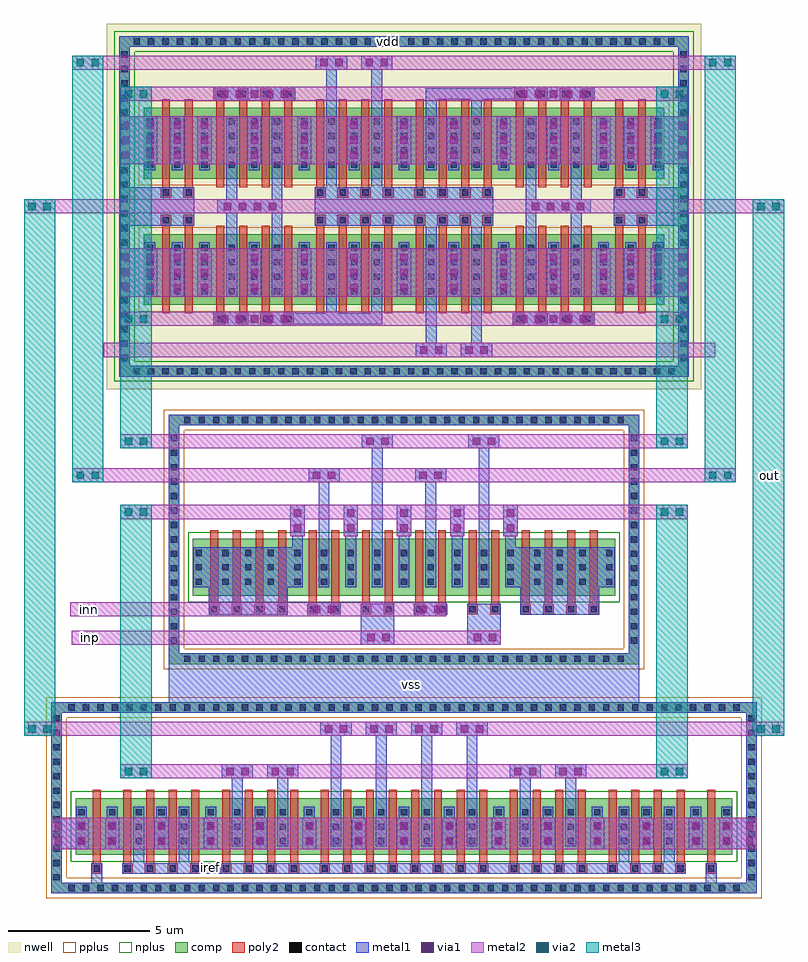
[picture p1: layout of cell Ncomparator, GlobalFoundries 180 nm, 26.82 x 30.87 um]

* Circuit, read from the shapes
.subckt Ncomparator inn inp iref out vdd vss
XM1 vss vss vss vss nfet_03v3 w=2u l=0.28u m=2
XM2 iref iref vss vss nfet_03v3 w=2u l=0.28u m=8
XM3 n1 n1 n1 vss nfet_03v3 w=2u l=0.28u m=8
XM4 n1 iref vss vss nfet_03v3 w=2u l=0.28u m=8
XM5 n2 inn n1 vss nfet_03v3 w=2u l=0.28u m=4
XM6 out iref vss vss nfet_03v3 w=2u l=0.28u m=8
XM7 n3 inp n1 vss nfet_03v3 w=2u l=0.28u m=4
XM8 vdd vdd vdd vdd pfet_03v3 w=2.5u l=0.28u m=8
XM9 out n3 vdd vdd pfet_03v3 w=2.5u l=0.28u m=16
XM10 n3 n2 vdd vdd pfet_03v3 w=2.5u l=0.28u m=8
XM11 n2 n2 vdd vdd pfet_03v3 w=2.5u l=0.28u m=8
.ends

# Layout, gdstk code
from math import pi, radians
import gdstk
lib = gdstk.Library(unit=1e-6, precision=5e-09)
def R(c, l, rs):  # rectangles x0, y0, x1, y1
    for r in rs: c.add(gdstk.rectangle(r[:2], r[2:], *l))
def A(c, l, x, y, w, h, nx, ny, dx, dy):  # array of equal rectangles
    R(c, l, [(x+i*dx, y+j*dy, x+i*dx+w, y+j*dy+h) for i in range(nx) for j in range(ny)])
nwell = (21, 0)
comp = (22, 0)
poly2 = (30, 0)
pplus = (31, 0)
nplus = (32, 0)
contact = (33, 0)
metal1 = (34, 0)
via1 = (35, 0)
metal2 = (36, 0)
via2 = (38, 0)
metal3 = (42, 0)

pfet_10 = lib.new_cell('pfet$10')
R(pfet_10, nwell, [(-0.9,-0.44,3.96,2.94)])
R(pfet_10, comp, [(-0.46,0,0,2.5), (0,0,3.06,2.5), (3.06,0,3.52,2.5)])
A(pfet_10, poly2, 0.14, -0.68, 0.38, 0.38, 4, 1, 0.8, 0)
A(pfet_10, poly2, 0.19, -0.3, 0.28, 3.1, 4, 1, 0.8, 0)
R(pfet_10, pplus, [(-0.63,-0.24,3.69,2.74)])
A(pfet_10, contact, 0.22, -0.6, 0.22, 0.22, 4, 1, 0.8, 0)
A(pfet_10, contact, -0.34, 0.375, 0.22, 0.22, 1, 4, 0, 0.51)
A(pfet_10, contact, 0.62, 0.375, 0.22, 0.22, 3, 4, 0.8, 0.51)
A(pfet_10, contact, 3.18, 0.375, 0.22, 0.22, 1, 4, 0, 0.51)
A(pfet_10, metal1, 0.14, -0.68, 0.38, 0.38, 4, 1, 0.8, 0)
A(pfet_10, metal1, 0.54, 0.295, 0.38, 1.91, 3, 1, 0.8, 0)
R(pfet_10, metal1, [(-0.42,0.295,-0.04,2.205), (3.1,0.295,3.48,2.205)])

nfet_11 = lib.new_cell('nfet$11')
R(nfet_11, comp, [(-0.42,0,0,2), (0,0,1.46,2), (1.46,0,1.88,2)])
R(nfet_11, poly2, [(0.19,-0.3,0.47,2.3), (0.99,-0.3,1.27,2.3), (0.15,2.3,0.51,2.66), (0.95,2.3,1.31,2.66)])
R(nfet_11, nplus, [(-0.59,-0.24,2.05,2.24)])
A(nfet_11, contact, -0.32, 0.38, 0.22, 0.22, 3, 3, 0.94, 0.51)
R(nfet_11, contact, [(0.22,2.37,0.44,2.59), (1.02,2.37,1.24,2.59)])
A(nfet_11, metal1, -0.4, 0.3, 0.38, 1.4, 3, 1, 0.94, 0)
R(nfet_11, metal1, [(0.14,2.29,0.52,2.67), (0.94,2.29,1.32,2.67)])

nfet_12 = lib.new_cell('nfet$12')
R(nfet_12, comp, [(-0.42,0,0,2), (0,0,6.26,2), (6.26,0,6.68,2)])
A(nfet_12, poly2, 0.19, -0.3, 0.28, 2.6, 8, 1, 0.8, 0)
A(nfet_12, poly2, 0.15, 2.3, 0.36, 0.36, 8, 1, 0.8, 0)
R(nfet_12, nplus, [(-0.59,-0.24,6.85,2.24)])
A(nfet_12, contact, -0.32, 0.38, 0.22, 0.22, 1, 3, 0, 0.51)
A(nfet_12, contact, 0.62, 0.38, 0.22, 0.22, 7, 3, 0.8, 0.51)
A(nfet_12, contact, 6.36, 0.38, 0.22, 0.22, 1, 3, 0, 0.51)
A(nfet_12, contact, 0.22, 2.37, 0.22, 0.22, 8, 1, 0.8, 0)
A(nfet_12, metal1, 0.54, 0.3, 0.38, 1.4, 7, 1, 0.8, 0)
A(nfet_12, metal1, 0.14, 2.29, 0.38, 0.38, 8, 1, 0.8, 0)
R(nfet_12, metal1, [(-0.4,0.3,-0.02,1.7), (6.28,0.3,6.66,1.7)])

via_dev_55 = lib.new_cell('via_dev$55')
R(via_dev_55, metal1, [(0,0,1.1,0.5)])
R(via_dev_55, via1, [(0.155,0.12,0.415,0.38), (0.685,0.12,0.945,0.38)])
R(via_dev_55, metal2, [(0,0,1.1,0.5)])

via_dev_56 = lib.new_cell('via_dev$56')
R(via_dev_56, metal1, [(0,0,1.7,0.5)])
A(via_dev_56, via1, 0.19, 0.12, 0.26, 0.26, 3, 1, 0.53, 0)
R(via_dev_56, metal2, [(0,0,1.7,0.5)])

pfet_11 = lib.new_cell('pfet$11')
R(pfet_11, nwell, [(-0.9,-0.44,2.36,2.94)])
R(pfet_11, comp, [(-0.46,0,0,2.5), (0,0,1.46,2.5), (1.46,0,1.92,2.5)])
R(pfet_11, poly2, [(0.14,-0.68,0.52,-0.3), (0.94,-0.68,1.32,-0.3), (0.19,-0.3,0.47,2.8), (0.99,-0.3,1.27,2.8)])
R(pfet_11, pplus, [(-0.63,-0.24,2.09,2.74)])
A(pfet_11, contact, -0.34, 0.375, 0.22, 0.22, 3, 4, 0.96, 0.51)
R(pfet_11, contact, [(0.22,-0.6,0.44,-0.38), (1.02,-0.6,1.24,-0.38)])
A(pfet_11, metal1, -0.42, 0.295, 0.38, 1.91, 3, 1, 0.96, 0)
R(pfet_11, metal1, [(0.14,-0.68,0.52,-0.3), (0.94,-0.68,1.32,-0.3)])

via_dev_57 = lib.new_cell('via_dev$57')
R(via_dev_57, metal1, [(0,0,2.3,0.5)])
A(via_dev_57, via1, 0.225, 0.12, 0.26, 0.26, 4, 1, 0.53, 0)
R(via_dev_57, metal2, [(0,0,2.3,0.5)])

via_dev_58 = lib.new_cell('via_dev$58')
R(via_dev_58, metal1, [(0,0,2.9,0.5)])
A(via_dev_58, via1, 0.26, 0.12, 0.26, 0.26, 5, 1, 0.53, 0)
R(via_dev_58, metal2, [(0,0,2.9,0.5)])

pfet_12 = lib.new_cell('pfet$12')
R(pfet_12, nwell, [(-0.9,-0.44,3.96,2.94)])
R(pfet_12, comp, [(-0.46,0,0,2.5), (0,0,3.06,2.5), (3.06,0,3.52,2.5)])
A(pfet_12, poly2, 0.19, -0.3, 0.28, 3.1, 4, 1, 0.8, 0)
A(pfet_12, poly2, 0.14, 2.8, 0.38, 0.38, 4, 1, 0.8, 0)
R(pfet_12, pplus, [(-0.63,-0.24,3.69,2.74)])
A(pfet_12, contact, -0.34, 0.375, 0.22, 0.22, 1, 4, 0, 0.51)
A(pfet_12, contact, 0.62, 0.375, 0.22, 0.22, 3, 4, 0.8, 0.51)
A(pfet_12, contact, 3.18, 0.375, 0.22, 0.22, 1, 4, 0, 0.51)
A(pfet_12, contact, 0.22, 2.88, 0.22, 0.22, 4, 1, 0.8, 0)
A(pfet_12, metal1, 0.54, 0.295, 0.38, 1.91, 3, 1, 0.8, 0)
A(pfet_12, metal1, 0.14, 2.8, 0.38, 0.38, 4, 1, 0.8, 0)
R(pfet_12, metal1, [(-0.42,0.295,-0.04,2.205), (3.1,0.295,3.48,2.205)])

via_dev_59 = lib.new_cell('via_dev$59')
R(via_dev_59, metal2, [(0,0,1.1,0.5)])
R(via_dev_59, via2, [(0.155,0.12,0.415,0.38), (0.685,0.12,0.945,0.38)])
R(via_dev_59, metal3, [(0,0,1.1,0.5)])

nfet_13 = lib.new_cell('nfet$13')
R(nfet_13, comp, [(-0.42,0,0,2), (0,0,3.06,2), (3.06,0,3.48,2)])
A(nfet_13, poly2, 0.19, -0.3, 0.28, 2.6, 4, 1, 0.8, 0)
A(nfet_13, poly2, 0.15, 2.3, 0.36, 0.36, 4, 1, 0.8, 0)
R(nfet_13, nplus, [(-0.59,-0.24,3.65,2.24)])
A(nfet_13, contact, -0.32, 0.38, 0.22, 0.22, 1, 3, 0, 0.51)
A(nfet_13, contact, 0.62, 0.38, 0.22, 0.22, 3, 3, 0.8, 0.51)
A(nfet_13, contact, 3.16, 0.38, 0.22, 0.22, 1, 3, 0, 0.51)
A(nfet_13, contact, 0.22, 2.37, 0.22, 0.22, 4, 1, 0.8, 0)
A(nfet_13, metal1, 0.54, 0.3, 0.38, 1.4, 3, 1, 0.8, 0)
A(nfet_13, metal1, 0.14, 2.29, 0.38, 0.38, 4, 1, 0.8, 0)
R(nfet_13, metal1, [(-0.4,0.3,-0.02,1.7), (3.08,0.3,3.46,1.7)])

nfet_14 = lib.new_cell('nfet$14')
R(nfet_14, comp, [(-0.42,0,0,2), (0,0,0.66,2), (0.66,0,1.08,2)])
R(nfet_14, poly2, [(0.19,-0.3,0.47,2.3), (0.15,2.3,0.51,2.66)])
R(nfet_14, nplus, [(-0.59,-0.24,1.25,2.24)])
A(nfet_14, contact, -0.32, 0.38, 0.22, 0.22, 1, 3, 0, 0.51)
A(nfet_14, contact, 0.76, 0.38, 0.22, 0.22, 1, 3, 0, 0.51)
R(nfet_14, contact, [(0.22,2.37,0.44,2.59)])
R(nfet_14, metal1, [(-0.4,0.3,-0.02,1.7), (0.68,0.3,1.06,1.7), (0.14,2.29,0.52,2.67)])

ncomparator = lib.new_cell('Ncomparator')
R(ncomparator, nwell, [(-0.91,6.035,20.07,18.93)])
R(ncomparator, pplus, [(-3.04,-11.935,-2.32,-4.845), (-2.32,-11.935,22.2,-11.215), (21.48,-11.215,22.2,-4.845), (-2.32,-5.565,21.48,-4.845), (1.1,-3.845,1.82,5.305), (1.82,-3.845,17.34,-3.125), (17.34,-3.845,18.06,4.585), (1.82,4.585,18.06,5.305)])
R(ncomparator, nplus, [(-0.64,6.305,19.8,7.025), (19.08,6.305,19.8,18.665), (-0.64,7.025,0.08,18.665), (-0.64,17.945,19.8,18.665)])
A(ncomparator, contact, -2.79, -11.305, 0.22, 0.22, 1, 12, 0, 0.51)
A(ncomparator, contact, 21.73, -11.305, 0.22, 0.22, 1, 12, 0, 0.51)
R(ncomparator, contact, [(-2.26,-11.685,-2.04,-11.465), (-1.75,-11.685,-1.53,-11.465), (-1.75,-11.685,-1.53,-11.465), (-1.24,-11.685,-1.02,-11.465), (-1.24,-11.685,-1.02,-11.465), (-0.73,-11.685,-0.51,-11.465), (-0.73,-11.685,-0.51,-11.465), (-0.22,-11.685,0,-11.465), (-0.22,-11.685,0,-11.465), (0.29,-11.685,0.51,-11.465), (0.29,-11.685,0.51,-11.465), (0.8,-11.685,1.02,-11.465), (0.8,-11.685,1.02,-11.465), (1.31,-11.685,1.53,-11.465), (1.31,-11.685,1.53,-11.465), (1.82,-11.685,2.04,-11.465), (1.82,-11.685,2.04,-11.465), (2.33,-11.685,2.55,-11.465), (2.33,-11.685,2.55,-11.465), (2.84,-11.685,3.06,-11.465), (2.84,-11.685,3.06,-11.465), (3.35,-11.685,3.57,-11.465), (3.35,-11.685,3.57,-11.465), (3.86,-11.685,4.08,-11.465), (3.86,-11.685,4.08,-11.465), (4.37,-11.685,4.59,-11.465), (4.37,-11.685,4.59,-11.465), (4.88,-11.685,5.1,-11.465), (4.88,-11.685,5.1,-11.465), (5.39,-11.685,5.61,-11.465), (5.39,-11.685,5.61,-11.465), (5.9,-11.685,6.12,-11.465), (5.9,-11.685,6.12,-11.465), (6.41,-11.685,6.63,-11.465), (6.41,-11.685,6.63,-11.465), (6.92,-11.685,7.14,-11.465), (6.92,-11.685,7.14,-11.465), (7.43,-11.685,7.65,-11.465), (7.43,-11.685,7.65,-11.465), (7.94,-11.685,8.16,-11.465), (7.94,-11.685,8.16,-11.465), (8.45,-11.685,8.67,-11.465), (8.45,-11.685,8.67,-11.465), (8.96,-11.685,9.18,-11.465), (8.96,-11.685,9.18,-11.465), (9.47,-11.685,9.69,-11.465), (9.47,-11.685,9.69,-11.465), (9.98,-11.685,10.2,-11.465), (9.98,-11.685,10.2,-11.465), (10.49,-11.685,10.71,-11.465), (10.49,-11.685,10.71,-11.465), (11,-11.685,11.22,-11.465), (11,-11.685,11.22,-11.465), (11.51,-11.685,11.73,-11.465), (11.51,-11.685,11.73,-11.465), (12.02,-11.685,12.24,-11.465), (12.02,-11.685,12.24,-11.465), (12.53,-11.685,12.75,-11.465), (12.53,-11.685,12.75,-11.465), (13.04,-11.685,13.26,-11.465), (13.04,-11.685,13.26,-11.465), (13.55,-11.685,13.77,-11.465), (13.55,-11.685,13.77,-11.465), (14.06,-11.685,14.28,-11.465), (14.06,-11.685,14.28,-11.465), (14.57,-11.685,14.79,-11.465), (14.57,-11.685,14.79,-11.465), (15.08,-11.685,15.3,-11.465), (15.08,-11.685,15.3,-11.465), (15.59,-11.685,15.81,-11.465), (15.59,-11.685,15.81,-11.465), (16.1,-11.685,16.32,-11.465), (16.1,-11.685,16.32,-11.465), (16.61,-11.685,16.83,-11.465), (16.61,-11.685,16.83,-11.465), (17.12,-11.685,17.34,-11.465), (17.12,-11.685,17.34,-11.465), (17.63,-11.685,17.85,-11.465), (17.63,-11.685,17.85,-11.465), (18.14,-11.685,18.36,-11.465), (18.14,-11.685,18.36,-11.465), (18.65,-11.685,18.87,-11.465), (18.65,-11.685,18.87,-11.465), (19.16,-11.685,19.38,-11.465), (19.16,-11.685,19.38,-11.465), (19.67,-11.685,19.89,-11.465), (19.67,-11.685,19.89,-11.465), (20.18,-11.685,20.4,-11.465), (20.18,-11.685,20.4,-11.465), (20.69,-11.685,20.91,-11.465), (20.69,-11.685,20.91,-11.465), (21.2,-11.685,21.42,-11.465), (21.2,-11.685,21.42,-11.465), (-2.26,-5.315,-2.04,-5.095), (-1.75,-5.315,-1.53,-5.095), (-1.75,-5.315,-1.53,-5.095), (-1.24,-5.315,-1.02,-5.095), (-1.24,-5.315,-1.02,-5.095), (-0.73,-5.315,-0.51,-5.095), (-0.73,-5.315,-0.51,-5.095), (-0.22,-5.315,0,-5.095), (-0.22,-5.315,0,-5.095), (0.29,-5.315,0.51,-5.095), (0.29,-5.315,0.51,-5.095), (0.8,-5.315,1.02,-5.095), (0.8,-5.315,1.02,-5.095), (1.31,-5.315,1.53,-5.095), (1.31,-5.315,1.53,-5.095), (1.82,-5.315,2.04,-5.095), (1.82,-5.315,2.04,-5.095), (2.33,-5.315,2.55,-5.095), (2.33,-5.315,2.55,-5.095), (2.84,-5.315,3.06,-5.095), (2.84,-5.315,3.06,-5.095), (3.35,-5.315,3.57,-5.095), (3.35,-5.315,3.57,-5.095), (3.86,-5.315,4.08,-5.095), (3.86,-5.315,4.08,-5.095), (4.37,-5.315,4.59,-5.095), (4.37,-5.315,4.59,-5.095), (4.88,-5.315,5.1,-5.095), (4.88,-5.315,5.1,-5.095), (5.39,-5.315,5.61,-5.095), (5.39,-5.315,5.61,-5.095), (5.9,-5.315,6.12,-5.095), (5.9,-5.315,6.12,-5.095), (6.41,-5.315,6.63,-5.095), (6.41,-5.315,6.63,-5.095), (6.92,-5.315,7.14,-5.095), (6.92,-5.315,7.14,-5.095), (7.43,-5.315,7.65,-5.095), (7.43,-5.315,7.65,-5.095), (7.94,-5.315,8.16,-5.095), (7.94,-5.315,8.16,-5.095), (8.45,-5.315,8.67,-5.095), (8.45,-5.315,8.67,-5.095), (8.96,-5.315,9.18,-5.095), (8.96,-5.315,9.18,-5.095), (9.47,-5.315,9.69,-5.095), (9.47,-5.315,9.69,-5.095), (9.98,-5.315,10.2,-5.095), (9.98,-5.315,10.2,-5.095), (10.49,-5.315,10.71,-5.095), (10.49,-5.315,10.71,-5.095), (11,-5.315,11.22,-5.095), (11,-5.315,11.22,-5.095), (11.51,-5.315,11.73,-5.095), (11.51,-5.315,11.73,-5.095), (12.02,-5.315,12.24,-5.095), (12.02,-5.315,12.24,-5.095), (12.53,-5.315,12.75,-5.095), (12.53,-5.315,12.75,-5.095), (13.04,-5.315,13.26,-5.095), (13.04,-5.315,13.26,-5.095), (13.55,-5.315,13.77,-5.095), (13.55,-5.315,13.77,-5.095), (14.06,-5.315,14.28,-5.095), (14.06,-5.315,14.28,-5.095), (14.57,-5.315,14.79,-5.095), (14.57,-5.315,14.79,-5.095), (15.08,-5.315,15.3,-5.095), (15.08,-5.315,15.3,-5.095), (15.59,-5.315,15.81,-5.095), (15.59,-5.315,15.81,-5.095), (16.1,-5.315,16.32,-5.095), (16.1,-5.315,16.32,-5.095), (16.61,-5.315,16.83,-5.095), (16.61,-5.315,16.83,-5.095), (17.12,-5.315,17.34,-5.095), (17.12,-5.315,17.34,-5.095), (17.63,-5.315,17.85,-5.095), (17.63,-5.315,17.85,-5.095), (18.14,-5.315,18.36,-5.095), (18.14,-5.315,18.36,-5.095), (18.65,-5.315,18.87,-5.095), (18.65,-5.315,18.87,-5.095), (19.16,-5.315,19.38,-5.095), (19.16,-5.315,19.38,-5.095), (19.67,-5.315,19.89,-5.095), (19.67,-5.315,19.89,-5.095), (20.18,-5.315,20.4,-5.095), (20.18,-5.315,20.4,-5.095), (20.69,-5.315,20.91,-5.095), (20.69,-5.315,20.91,-5.095), (21.2,-5.315,21.42,-5.095), (21.2,-5.315,21.42,-5.095), (1.82,-3.595,2.04,-3.375), (1.82,-3.595,2.04,-3.375), (2.33,-3.595,2.55,-3.375), (2.33,-3.595,2.55,-3.375), (2.84,-3.595,3.06,-3.375), (2.84,-3.595,3.06,-3.375), (3.35,-3.595,3.57,-3.375), (3.35,-3.595,3.57,-3.375), (3.86,-3.595,4.08,-3.375), (3.86,-3.595,4.08,-3.375), (4.37,-3.595,4.59,-3.375), (4.37,-3.595,4.59,-3.375), (4.88,-3.595,5.1,-3.375), (4.88,-3.595,5.1,-3.375), (5.39,-3.595,5.61,-3.375), (5.39,-3.595,5.61,-3.375), (5.9,-3.595,6.12,-3.375), (5.9,-3.595,6.12,-3.375), (6.41,-3.595,6.63,-3.375), (6.41,-3.595,6.63,-3.375), (6.92,-3.595,7.14,-3.375), (6.92,-3.595,7.14,-3.375), (7.43,-3.595,7.65,-3.375), (7.43,-3.595,7.65,-3.375), (7.94,-3.595,8.16,-3.375), (7.94,-3.595,8.16,-3.375), (8.45,-3.595,8.67,-3.375), (8.45,-3.595,8.67,-3.375), (8.96,-3.595,9.18,-3.375), (8.96,-3.595,9.18,-3.375), (9.47,-3.595,9.69,-3.375), (9.47,-3.595,9.69,-3.375), (9.98,-3.595,10.2,-3.375), (9.98,-3.595,10.2,-3.375), (10.49,-3.595,10.71,-3.375), (10.49,-3.595,10.71,-3.375), (11,-3.595,11.22,-3.375), (11,-3.595,11.22,-3.375), (11.51,-3.595,11.73,-3.375), (11.51,-3.595,11.73,-3.375), (12.02,-3.595,12.24,-3.375), (12.02,-3.595,12.24,-3.375), (12.53,-3.595,12.75,-3.375), (12.53,-3.595,12.75,-3.375), (13.04,-3.595,13.26,-3.375), (13.04,-3.595,13.26,-3.375), (13.55,-3.595,13.77,-3.375), (13.55,-3.595,13.77,-3.375), (14.06,-3.595,14.28,-3.375), (14.06,-3.595,14.28,-3.375), (14.57,-3.595,14.79,-3.375), (14.57,-3.595,14.79,-3.375), (15.08,-3.595,15.3,-3.375), (15.08,-3.595,15.3,-3.375), (15.59,-3.595,15.81,-3.375), (15.59,-3.595,15.81,-3.375), (16.1,-3.595,16.32,-3.375), (16.1,-3.595,16.32,-3.375), (16.61,-3.595,16.83,-3.375), (16.61,-3.595,16.83,-3.375), (17.12,-3.595,17.34,-3.375), (17.12,-3.595,17.34,-3.375), (1.35,-2.95,1.57,-2.73), (1.35,-2.95,1.57,-2.73), (17.59,-2.95,17.81,-2.73), (17.59,-2.95,17.81,-2.73), (1.35,-2.44,1.57,-2.22), (1.35,-2.44,1.57,-2.22), (17.59,-2.44,17.81,-2.22), (17.59,-2.44,17.81,-2.22), (1.35,-1.93,1.57,-1.71), (1.35,-1.93,1.57,-1.71), (17.59,-1.93,17.81,-1.71), (17.59,-1.93,17.81,-1.71), (1.35,-1.42,1.57,-1.2), (1.35,-1.42,1.57,-1.2), (17.59,-1.42,17.81,-1.2), (17.59,-1.42,17.81,-1.2), (1.35,-0.91,1.57,-0.69), (1.35,-0.91,1.57,-0.69), (17.59,-0.91,17.81,-0.69), (17.59,-0.91,17.81,-0.69), (1.35,-0.4,1.57,-0.18), (1.35,-0.4,1.57,-0.18), (17.59,-0.4,17.81,-0.18), (17.59,-0.4,17.81,-0.18), (1.35,0.11,1.57,0.33), (1.35,0.11,1.57,0.33), (17.59,0.11,17.81,0.33), (17.59,0.11,17.81,0.33), (1.35,0.62,1.57,0.84), (1.35,0.62,1.57,0.84), (17.59,0.62,17.81,0.84), (17.59,0.62,17.81,0.84), (1.35,1.13,1.57,1.35), (1.35,1.13,1.57,1.35), (17.59,1.13,17.81,1.35), (17.59,1.13,17.81,1.35), (1.35,1.64,1.57,1.86), (1.35,1.64,1.57,1.86), (17.59,1.64,17.81,1.86), (17.59,1.64,17.81,1.86), (1.35,2.15,1.57,2.37), (1.35,2.15,1.57,2.37), (17.59,2.15,17.81,2.37), (17.59,2.15,17.81,2.37), (1.35,2.66,1.57,2.88), (1.35,2.66,1.57,2.88), (17.59,2.66,17.81,2.88), (17.59,2.66,17.81,2.88), (1.35,3.17,1.57,3.39), (1.35,3.17,1.57,3.39), (17.59,3.17,17.81,3.39), (17.59,3.17,17.81,3.39), (1.35,3.68,1.57,3.9), (1.35,3.68,1.57,3.9), (17.59,3.68,17.81,3.9), (17.59,3.68,17.81,3.9), (1.35,4.19,1.57,4.41), (17.59,4.19,17.81,4.41), (1.82,4.835,2.04,5.055), (1.82,4.835,2.04,5.055), (2.33,4.835,2.55,5.055), (2.33,4.835,2.55,5.055), (2.84,4.835,3.06,5.055), (2.84,4.835,3.06,5.055), (3.35,4.835,3.57,5.055), (3.35,4.835,3.57,5.055), (3.86,4.835,4.08,5.055), (3.86,4.835,4.08,5.055), (4.37,4.835,4.59,5.055), (4.37,4.835,4.59,5.055), (4.88,4.835,5.1,5.055), (4.88,4.835,5.1,5.055), (5.39,4.835,5.61,5.055), (5.39,4.835,5.61,5.055), (5.9,4.835,6.12,5.055), (5.9,4.835,6.12,5.055), (6.41,4.835,6.63,5.055), (6.41,4.835,6.63,5.055), (6.92,4.835,7.14,5.055), (6.92,4.835,7.14,5.055), (7.43,4.835,7.65,5.055), (7.43,4.835,7.65,5.055), (7.94,4.835,8.16,5.055), (7.94,4.835,8.16,5.055), (8.45,4.835,8.67,5.055), (8.45,4.835,8.67,5.055), (8.96,4.835,9.18,5.055), (8.96,4.835,9.18,5.055), (9.47,4.835,9.69,5.055), (9.47,4.835,9.69,5.055), (9.98,4.835,10.2,5.055), (9.98,4.835,10.2,5.055), (10.49,4.835,10.71,5.055), (10.49,4.835,10.71,5.055), (11,4.835,11.22,5.055), (11,4.835,11.22,5.055), (11.51,4.835,11.73,5.055), (11.51,4.835,11.73,5.055), (12.02,4.835,12.24,5.055), (12.02,4.835,12.24,5.055), (12.53,4.835,12.75,5.055), (12.53,4.835,12.75,5.055), (13.04,4.835,13.26,5.055), (13.04,4.835,13.26,5.055), (13.55,4.835,13.77,5.055), (13.55,4.835,13.77,5.055), (14.06,4.835,14.28,5.055), (14.06,4.835,14.28,5.055), (14.57,4.835,14.79,5.055), (14.57,4.835,14.79,5.055), (15.08,4.835,15.3,5.055), (15.08,4.835,15.3,5.055), (15.59,4.835,15.81,5.055), (15.59,4.835,15.81,5.055), (16.1,4.835,16.32,5.055), (16.1,4.835,16.32,5.055), (16.61,4.835,16.83,5.055), (16.61,4.835,16.83,5.055), (17.12,4.835,17.34,5.055), (17.12,4.835,17.34,5.055), (0.035,6.555,0.255,6.775), (0.035,6.555,0.255,6.775), (0.545,6.555,0.765,6.775), (0.545,6.555,0.765,6.775), (1.055,6.555,1.275,6.775), (1.055,6.555,1.275,6.775), (1.565,6.555,1.785,6.775), (1.565,6.555,1.785,6.775), (2.075,6.555,2.295,6.775), (2.075,6.555,2.295,6.775), (2.585,6.555,2.805,6.775), (2.585,6.555,2.805,6.775), (3.095,6.555,3.315,6.775), (3.095,6.555,3.315,6.775), (3.605,6.555,3.825,6.775), (3.605,6.555,3.825,6.775), (4.115,6.555,4.335,6.775), (4.115,6.555,4.335,6.775), (4.625,6.555,4.845,6.775), (4.625,6.555,4.845,6.775), (5.135,6.555,5.355,6.775), (5.135,6.555,5.355,6.775), (5.645,6.555,5.865,6.775), (5.645,6.555,5.865,6.775), (6.155,6.555,6.375,6.775), (6.155,6.555,6.375,6.775), (6.665,6.555,6.885,6.775), (6.665,6.555,6.885,6.775), (7.175,6.555,7.395,6.775), (7.175,6.555,7.395,6.775), (7.685,6.555,7.905,6.775), (7.685,6.555,7.905,6.775), (8.195,6.555,8.415,6.775), (8.195,6.555,8.415,6.775), (8.705,6.555,8.925,6.775), (8.705,6.555,8.925,6.775), (9.215,6.555,9.435,6.775), (9.215,6.555,9.435,6.775), (9.725,6.555,9.945,6.775), (9.725,6.555,9.945,6.775), (10.235,6.555,10.455,6.775), (10.235,6.555,10.455,6.775), (10.745,6.555,10.965,6.775), (10.745,6.555,10.965,6.775), (11.255,6.555,11.475,6.775), (11.255,6.555,11.475,6.775), (11.765,6.555,11.985,6.775), (11.765,6.555,11.985,6.775), (12.275,6.555,12.495,6.775), (12.275,6.555,12.495,6.775), (12.785,6.555,13.005,6.775), (12.785,6.555,13.005,6.775), (13.295,6.555,13.515,6.775), (13.295,6.555,13.515,6.775), (13.805,6.555,14.025,6.775), (13.805,6.555,14.025,6.775), (14.315,6.555,14.535,6.775), (14.315,6.555,14.535,6.775), (14.825,6.555,15.045,6.775), (14.825,6.555,15.045,6.775), (15.335,6.555,15.555,6.775), (15.335,6.555,15.555,6.775), (15.845,6.555,16.065,6.775), (15.845,6.555,16.065,6.775), (16.355,6.555,16.575,6.775), (16.355,6.555,16.575,6.775), (16.865,6.555,17.085,6.775), (16.865,6.555,17.085,6.775), (17.375,6.555,17.595,6.775), (17.375,6.555,17.595,6.775), (17.885,6.555,18.105,6.775), (17.885,6.555,18.105,6.775), (18.395,6.555,18.615,6.775), (18.395,6.555,18.615,6.775), (18.905,6.555,19.125,6.775), (18.905,6.555,19.125,6.775), (-0.39,7.02,-0.17,7.24), (-0.39,7.02,-0.17,7.24), (19.33,7.02,19.55,7.24), (19.33,7.02,19.55,7.24), (-0.39,7.53,-0.17,7.75), (-0.39,7.53,-0.17,7.75), (19.33,7.53,19.55,7.75), (19.33,7.53,19.55,7.75), (-0.39,8.04,-0.17,8.26), (-0.39,8.04,-0.17,8.26), (19.33,8.04,19.55,8.26), (19.33,8.04,19.55,8.26), (-0.39,8.55,-0.17,8.77), (-0.39,8.55,-0.17,8.77), (19.33,8.55,19.55,8.77), (19.33,8.55,19.55,8.77), (-0.39,9.06,-0.17,9.28), (-0.39,9.06,-0.17,9.28), (19.33,9.06,19.55,9.28), (19.33,9.06,19.55,9.28), (-0.39,9.57,-0.17,9.79), (-0.39,9.57,-0.17,9.79), (19.33,9.57,19.55,9.79), (19.33,9.57,19.55,9.79), (-0.39,10.08,-0.17,10.3), (-0.39,10.08,-0.17,10.3), (19.33,10.08,19.55,10.3), (19.33,10.08,19.55,10.3), (-0.39,10.59,-0.17,10.81), (-0.39,10.59,-0.17,10.81), (19.33,10.59,19.55,10.81), (19.33,10.59,19.55,10.81), (-0.39,11.1,-0.17,11.32), (-0.39,11.1,-0.17,11.32), (19.33,11.1,19.55,11.32), (19.33,11.1,19.55,11.32), (-0.39,11.61,-0.17,11.83), (-0.39,11.61,-0.17,11.83), (19.33,11.61,19.55,11.83), (19.33,11.61,19.55,11.83), (-0.39,12.12,-0.17,12.34), (-0.39,12.12,-0.17,12.34), (19.33,12.12,19.55,12.34), (19.33,12.12,19.55,12.34), (-0.39,12.63,-0.17,12.85), (-0.39,12.63,-0.17,12.85), (19.33,12.63,19.55,12.85), (19.33,12.63,19.55,12.85), (-0.39,13.14,-0.17,13.36), (-0.39,13.14,-0.17,13.36), (19.33,13.14,19.55,13.36), (19.33,13.14,19.55,13.36), (-0.39,13.65,-0.17,13.87), (-0.39,13.65,-0.17,13.87), (19.33,13.65,19.55,13.87), (19.33,13.65,19.55,13.87), (-0.39,14.16,-0.17,14.38), (-0.39,14.16,-0.17,14.38), (19.33,14.16,19.55,14.38), (19.33,14.16,19.55,14.38), (-0.39,14.67,-0.17,14.89), (-0.39,14.67,-0.17,14.89), (19.33,14.67,19.55,14.89), (19.33,14.67,19.55,14.89), (-0.39,15.18,-0.17,15.4), (-0.39,15.18,-0.17,15.4), (19.33,15.18,19.55,15.4), (19.33,15.18,19.55,15.4), (-0.39,15.69,-0.17,15.91), (-0.39,15.69,-0.17,15.91), (19.33,15.69,19.55,15.91), (19.33,15.69,19.55,15.91), (-0.39,16.2,-0.17,16.42), (-0.39,16.2,-0.17,16.42), (19.33,16.2,19.55,16.42), (19.33,16.2,19.55,16.42), (-0.39,16.71,-0.17,16.93), (-0.39,16.71,-0.17,16.93), (19.33,16.71,19.55,16.93), (19.33,16.71,19.55,16.93), (-0.39,17.22,-0.17,17.44), (-0.39,17.22,-0.17,17.44), (19.33,17.22,19.55,17.44), (19.33,17.22,19.55,17.44), (-0.39,17.73,-0.17,17.95), (19.33,17.73,19.55,17.95), (0.035,18.195,0.255,18.415), (0.035,18.195,0.255,18.415), (0.545,18.195,0.765,18.415), (0.545,18.195,0.765,18.415), (1.055,18.195,1.275,18.415), (1.055,18.195,1.275,18.415), (1.565,18.195,1.785,18.415), (1.565,18.195,1.785,18.415), (2.075,18.195,2.295,18.415), (2.075,18.195,2.295,18.415), (2.585,18.195,2.805,18.415), (2.585,18.195,2.805,18.415), (3.095,18.195,3.315,18.415), (3.095,18.195,3.315,18.415), (3.605,18.195,3.825,18.415), (3.605,18.195,3.825,18.415), (4.115,18.195,4.335,18.415), (4.115,18.195,4.335,18.415), (4.625,18.195,4.845,18.415), (4.625,18.195,4.845,18.415), (5.135,18.195,5.355,18.415), (5.135,18.195,5.355,18.415), (5.645,18.195,5.865,18.415), (5.645,18.195,5.865,18.415), (6.155,18.195,6.375,18.415), (6.155,18.195,6.375,18.415), (6.665,18.195,6.885,18.415), (6.665,18.195,6.885,18.415), (7.175,18.195,7.395,18.415), (7.175,18.195,7.395,18.415), (7.685,18.195,7.905,18.415), (7.685,18.195,7.905,18.415), (8.195,18.195,8.415,18.415), (8.195,18.195,8.415,18.415), (8.705,18.195,8.925,18.415), (8.705,18.195,8.925,18.415), (9.215,18.195,9.435,18.415), (9.215,18.195,9.435,18.415), (9.725,18.195,9.945,18.415), (9.725,18.195,9.945,18.415), (10.235,18.195,10.455,18.415), (10.235,18.195,10.455,18.415), (10.745,18.195,10.965,18.415), (10.745,18.195,10.965,18.415), (11.255,18.195,11.475,18.415), (11.255,18.195,11.475,18.415), (11.765,18.195,11.985,18.415), (11.765,18.195,11.985,18.415), (12.275,18.195,12.495,18.415), (12.275,18.195,12.495,18.415), (12.785,18.195,13.005,18.415), (12.785,18.195,13.005,18.415), (13.295,18.195,13.515,18.415), (13.295,18.195,13.515,18.415), (13.805,18.195,14.025,18.415), (13.805,18.195,14.025,18.415), (14.315,18.195,14.535,18.415), (14.315,18.195,14.535,18.415), (14.825,18.195,15.045,18.415), (14.825,18.195,15.045,18.415), (15.335,18.195,15.555,18.415), (15.335,18.195,15.555,18.415), (15.845,18.195,16.065,18.415), (15.845,18.195,16.065,18.415), (16.355,18.195,16.575,18.415), (16.355,18.195,16.575,18.415), (16.865,18.195,17.085,18.415), (16.865,18.195,17.085,18.415), (17.375,18.195,17.595,18.415), (17.375,18.195,17.595,18.415), (17.885,18.195,18.105,18.415), (17.885,18.195,18.105,18.415), (18.395,18.195,18.615,18.415), (18.395,18.195,18.615,18.415), (18.905,18.195,19.125,18.415), (18.905,18.195,19.125,18.415)])
A(ncomparator, metal1, 6.99, -8.705, 0.38, 2.5, 4, 1, 1.6, 0)
A(ncomparator, metal1, 6.55, -1.925, 0.42, 0.38, 4, 1, 1.88, 0)
A(ncomparator, metal1, 5.63, 0.445, 0.38, 1, 5, 1, 1.88, 0)
R(ncomparator, metal1, [(-2.87,-11.765,-2.49,-5.015), (-2.49,-11.765,22.03,-11.385), (-1.45,-11.385,-1.07,-11.075), (20.23,-11.385,20.61,-11.075), (21.65,-11.385,22.03,-5.015), (0.01,-11.075,5.51,-10.695), (5.89,-11.075,6.59,-10.695), (6.97,-11.075,12.19,-10.695), (12.57,-11.075,13.27,-10.695), (13.65,-11.075,19.15,-10.695), (0.03,-10.695,0.41,-10.105), (1.63,-10.695,2.01,-10.105), (17.15,-10.695,17.53,-10.105), (18.75,-10.695,19.13,-10.105), (-2.37,-10.2,-2.05,-9.1), (21.21,-10.2,21.53,-9.1), (3.51,-8.705,3.89,-7.705), (5.11,-8.705,5.49,-7.705), (13.67,-8.705,14.05,-7.705), (15.27,-8.705,15.65,-7.705), (-2.49,-5.395,21.65,-5.015), (1.27,-5.015,17.89,-3.675), (1.27,-3.675,1.65,5.135), (1.65,-3.675,17.89,-3.295), (17.51,-3.675,17.89,5.135), (8.05,-2.985,9.23,-1.925), (11.81,-2.985,12.99,-1.925), (3.07,-1.925,5.09,-1.545), (14.07,-1.925,16.09,-1.545), (2.69,-1.545,5.47,-0.955), (13.69,-1.545,16.47,-0.955), (2.53,-0.955,5.63,0.445), (13.53,-0.955,16.63,0.445), (6.57,0.445,6.95,2.945), (8.45,0.445,8.83,3.945), (10.33,0.445,10.71,2.945), (12.21,0.445,12.59,3.945), (1.65,4.755,17.51,5.135), (-0.47,6.475,-0.09,18.495), (-0.09,6.475,19.63,6.855), (19.25,6.855,19.63,18.495), (10.35,7.665,10.73,9.3), (11.95,7.665,12.33,9.3), (3.29,8.325,5.31,8.705), (5.69,8.325,8.81,8.705), (13.85,8.325,15.87,8.705), (6.83,8.705,7.21,9.3), (8.43,8.705,8.81,9.3), (0.03,9.3,0.37,11), (18.79,9.3,19.13,11), (3.31,11.21,3.69,13.76), (4.91,11.21,5.29,13.76), (10.35,11.21,10.73,11.805), (11.95,11.21,12.33,11.805), (13.87,11.21,14.25,13.76), (15.47,11.21,15.85,13.76), (-0.09,11.805,0.99,13.165), (1.37,11.805,1.79,12.185), (6.81,11.805,8.83,12.185), (9.21,11.805,9.95,12.185), (10.33,11.805,12.35,12.185), (17.37,11.805,17.79,12.185), (18.17,11.805,19.25,13.165), (0.99,12.185,2.17,12.785), (6.43,12.185,12.73,12.785), (16.99,12.185,18.17,12.785), (1.37,12.785,1.79,13.165), (6.81,12.785,8.83,13.165), (9.21,12.785,9.95,13.165), (10.33,12.785,12.35,13.165), (17.37,12.785,17.79,13.165), (6.83,13.165,7.21,13.76), (8.43,13.165,8.81,13.76), (0.03,13.97,0.37,15.67), (18.79,13.97,19.135,15.67), (6.83,15.67,7.21,17.305), (8.43,15.67,8.81,17.305), (10.35,15.67,10.73,16.265), (11.95,15.67,12.33,16.265), (3.29,16.265,5.31,16.645), (10.35,16.265,13.47,16.645), (13.85,16.265,15.87,16.645), (-0.09,18.115,19.25,18.495)])
R(ncomparator, metal2, [(-2.87,-10.2,22.03,-9.1), (-0.43,-7.705,19.59,-7.205), (-3.83,-6.205,22.99,-5.705), (-2.14,-2.985,12.99,-2.485), (-2.205,-1.985,9.97,-1.485), (-0.43,1.445,19.59,1.945), (-2.13,2.745,21.29,3.245), (-0.43,3.945,19.59,4.445), (-1.01,7.165,20.56,7.665), (-0.43,8.265,19.59,8.765), (-0.47,9.3,19.63,11), (-3.83,12.235,22.99,12.735), (-0.47,13.97,19.63,15.67), (-0.43,16.205,19.59,16.705), (-2.13,17.305,21.29,17.805)])
R(ncomparator, metal3, [(-0.43,-7.705,0.67,1.445), (18.49,-7.705,19.59,1.445), (-3.83,-6.205,-2.73,12.735), (21.89,-6.205,22.99,12.735), (-2.13,2.745,-1.03,17.805), (20.19,2.745,21.29,17.805), (-0.43,4.445,0.67,16.705), (18.49,4.445,19.59,16.705)])
ncomparator.add(gdstk.FlexPath([(-2.68,-5.015),(-2.68,-11.575),(21.945,-11.575)], 0.38, ends="flush", simple_path=True, layer=22, datatype=0))  # comp
ncomparator.add(gdstk.FlexPath([(21.84,-11.765),(21.84,-5.015)], 0.38, ends="flush", simple_path=True, layer=22, datatype=0))  # comp
ncomparator.add(gdstk.FlexPath([(-2.645,-5.205),(21.875,-5.205)], 0.38, ends="flush", simple_path=True, layer=22, datatype=0))  # comp
ncomparator.add(gdstk.FlexPath([(1.46,5.135),(1.46,-3.485),(17.89,-3.485)], 0.38, ends="flush", simple_path=True, layer=22, datatype=0))  # comp
ncomparator.add(gdstk.FlexPath([(17.7,-3.485),(17.7,5.135)], 0.38, ends="flush", simple_path=True, layer=22, datatype=0))  # comp
ncomparator.add(gdstk.FlexPath([(1.465,4.945),(17.7,4.945)], 0.38, ends="flush", simple_path=True, layer=22, datatype=0))  # comp
ncomparator.add(gdstk.FlexPath([(-0.28,18.495),(-0.28,6.665),(19.63,6.665)], 0.38, ends="flush", simple_path=True, layer=22, datatype=0))  # comp
ncomparator.add(gdstk.FlexPath([(19.44,6.665),(19.44,18.495)], 0.38, ends="flush", simple_path=True, layer=22, datatype=0))  # comp
ncomparator.add(gdstk.FlexPath([(-0.27,18.305),(19.25,18.305)], 0.38, ends="flush", simple_path=True, layer=22, datatype=0))  # comp
ncomparator.add(gdstk.Reference(pfet_10, (6.29,13.465)))
ncomparator.add(gdstk.Reference(pfet_10, (6.29,11.505), x_reflection=True))
ncomparator.add(gdstk.Reference(pfet_10, (9.81,11.505), x_reflection=True))
ncomparator.add(gdstk.Reference(pfet_10, (9.81,13.465)))
ncomparator.add(gdstk.Reference(nfet_11, (9.79,0.745), x_reflection=True))
ncomparator.add(gdstk.Reference(nfet_11, (7.91,0.745), x_reflection=True))
ncomparator.add(gdstk.Reference(nfet_12, (6.45,-8.405), x_reflection=True))
ncomparator.add(gdstk.Reference(via_dev_55, (9.83,0.845), rotation=pi/2))
ncomparator.add(gdstk.Reference(via_dev_55, (9.83,-10.2), rotation=pi/2))
ncomparator.add(gdstk.Reference(via_dev_56, (9.83,13.97), rotation=pi/2))
ncomparator.add(gdstk.Reference(via_dev_56, (9.83,9.3), rotation=pi/2))
ncomparator.add(gdstk.Reference(pfet_11, (16.85,13.465)))
ncomparator.add(gdstk.Reference(via_dev_55, (11.85,3.945)))
ncomparator.add(gdstk.Reference(via_dev_57, (13.87,12.235)))
ncomparator.add(gdstk.Reference(via_dev_58, (13.41,16.205)))
ncomparator.add(gdstk.Reference(via_dev_55, (9.99,7.665), x_reflection=True))
ncomparator.add(gdstk.Reference(via_dev_55, (11.59,7.665), x_reflection=True))
ncomparator.add(gdstk.Reference(via_dev_58, (13.41,8.265)))
ncomparator.add(gdstk.Reference(pfet_12, (13.33,13.465)))
ncomparator.add(gdstk.Reference(pfet_12, (13.33,11.505), x_reflection=True))
ncomparator.add(gdstk.Reference(via_dev_56, (11.59,13.97), rotation=pi/2))
ncomparator.add(gdstk.Reference(via_dev_56, (13.35,13.97), rotation=pi/2))
ncomparator.add(gdstk.Reference(via_dev_56, (15.11,13.97), rotation=pi/2))
ncomparator.add(gdstk.Reference(via_dev_56, (16.87,13.97), rotation=pi/2))
ncomparator.add(gdstk.Reference(via_dev_56, (17.83,13.97), rotation=pi/2))
ncomparator.add(gdstk.Reference(via_dev_56, (18.79,13.97), rotation=pi/2))
ncomparator.add(gdstk.Reference(pfet_11, (16.85,11.505), x_reflection=True))
ncomparator.add(gdstk.Reference(via_dev_56, (11.59,9.3), rotation=pi/2))
ncomparator.add(gdstk.Reference(via_dev_56, (13.35,9.3), rotation=pi/2))
ncomparator.add(gdstk.Reference(via_dev_56, (15.11,9.3), rotation=pi/2))
ncomparator.add(gdstk.Reference(via_dev_56, (16.87,9.3), rotation=pi/2))
ncomparator.add(gdstk.Reference(via_dev_56, (17.83,9.3), rotation=pi/2))
ncomparator.add(gdstk.Reference(via_dev_56, (18.79,9.3), rotation=pi/2))
ncomparator.add(gdstk.Reference(via_dev_56, (19.63,13.97), rotation=pi/2))
ncomparator.add(gdstk.Reference(via_dev_56, (19.63,9.3), rotation=pi/2))
ncomparator.add(gdstk.Reference(via_dev_59, (18.49,3.945)))
ncomparator.add(gdstk.Reference(via_dev_59, (18.49,8.265)))
ncomparator.add(gdstk.Reference(via_dev_59, (18.49,16.205)))
ncomparator.add(gdstk.Reference(via_dev_59, (20.19,17.305)))
ncomparator.add(gdstk.Reference(via_dev_59, (21.89,12.235)))
ncomparator.add(gdstk.Reference(pfet_11, (0.85,13.465)))
ncomparator.add(gdstk.Reference(via_dev_58, (2.85,8.265)))
ncomparator.add(gdstk.Reference(via_dev_56, (0.87,9.3), rotation=pi/2))
ncomparator.add(gdstk.Reference(via_dev_56, (1.83,9.3), rotation=pi/2))
ncomparator.add(gdstk.Reference(via_dev_56, (2.79,9.3), rotation=pi/2))
ncomparator.add(gdstk.Reference(via_dev_56, (4.55,9.3), rotation=pi/2))
ncomparator.add(gdstk.Reference(via_dev_56, (6.31,9.3), rotation=pi/2))
ncomparator.add(gdstk.Reference(via_dev_56, (8.07,9.3), rotation=pi/2))
ncomparator.add(gdstk.Reference(pfet_11, (0.85,11.505), x_reflection=True))
ncomparator.add(gdstk.Reference(pfet_12, (2.77,13.465)))
ncomparator.add(gdstk.Reference(via_dev_55, (6.47,17.305)))
ncomparator.add(gdstk.Reference(via_dev_56, (0.87,13.97), rotation=pi/2))
ncomparator.add(gdstk.Reference(via_dev_56, (1.83,13.97), rotation=pi/2))
ncomparator.add(gdstk.Reference(via_dev_56, (2.79,13.97), rotation=pi/2))
ncomparator.add(gdstk.Reference(via_dev_56, (4.55,13.97), rotation=pi/2))
ncomparator.add(gdstk.Reference(via_dev_56, (0.03,13.97), rotation=pi/2))
ncomparator.add(gdstk.Reference(via_dev_56, (6.31,13.97), rotation=pi/2))
ncomparator.add(gdstk.Reference(via_dev_56, (8.07,13.97), rotation=pi/2))
ncomparator.add(gdstk.Reference(via_dev_56, (0.03,9.3), rotation=pi/2))
ncomparator.add(gdstk.Reference(via_dev_59, (-0.43,3.945)))
ncomparator.add(gdstk.Reference(via_dev_57, (2.99,12.235)))
ncomparator.add(gdstk.Reference(via_dev_55, (8.07,17.305)))
ncomparator.add(gdstk.Reference(via_dev_58, (2.85,16.205)))
ncomparator.add(gdstk.Reference(via_dev_59, (-0.43,16.205)))
ncomparator.add(gdstk.Reference(via_dev_59, (-0.43,8.265)))
ncomparator.add(gdstk.Reference(via_dev_59, (-2.13,17.305)))
ncomparator.add(gdstk.Reference(pfet_12, (2.77,11.505), x_reflection=True))
ncomparator.add(gdstk.Reference(via_dev_59, (-3.83,12.235)))
ncomparator.add(gdstk.Reference(via_dev_55, (8.09,3.945)))
ncomparator.add(gdstk.Reference(nfet_13, (2.97,-8.405), x_reflection=True))
ncomparator.add(gdstk.Reference(nfet_13, (-0.51,-8.405), x_reflection=True))
ncomparator.add(gdstk.Reference(via_dev_55, (3.15,-7.705)))
ncomparator.add(gdstk.Reference(via_dev_55, (4.75,-7.705)))
ncomparator.add(gdstk.Reference(via_dev_55, (6.63,-6.205)))
ncomparator.add(gdstk.Reference(via_dev_55, (8.23,-6.205)))
ncomparator.add(gdstk.Reference(via_dev_55, (6.07,0.845), rotation=pi/2))
ncomparator.add(gdstk.Reference(via_dev_55, (7.95,0.845), rotation=pi/2))
ncomparator.add(gdstk.Reference(nfet_11, (6.03,0.745), x_reflection=True))
ncomparator.add(gdstk.Reference(via_dev_55, (6.21,2.745)))
ncomparator.add(gdstk.Reference(via_dev_59, (-0.43,1.445)))
ncomparator.add(gdstk.Reference(via_dev_59, (-0.43,-7.705)))
ncomparator.add(gdstk.Reference(nfet_14, (-1.59,-8.405), x_reflection=True))
ncomparator.add(gdstk.Reference(via_dev_55, (-1.55,-10.2), rotation=pi/2))
ncomparator.add(gdstk.Reference(via_dev_55, (-0.47,-10.2), rotation=pi/2))
ncomparator.add(gdstk.Reference(via_dev_55, (3.01,-10.2), rotation=pi/2))
ncomparator.add(gdstk.Reference(via_dev_55, (1.27,-10.2), rotation=pi/2))
ncomparator.add(gdstk.Reference(via_dev_55, (4.75,-10.2), rotation=pi/2))
ncomparator.add(gdstk.Reference(via_dev_59, (-2.13,2.745)))
ncomparator.add(gdstk.Reference(via_dev_55, (6.49,-10.2), rotation=pi/2))
ncomparator.add(gdstk.Reference(via_dev_55, (8.23,-10.2), rotation=pi/2))
ncomparator.add(gdstk.Reference(nfet_13, (2.55,0.745), x_reflection=True))
ncomparator.add(gdstk.Reference(via_dev_59, (-3.83,-6.205)))
ncomparator.add(gdstk.Reference(via_dev_55, (-2.37,-10.2), rotation=pi/2))
ncomparator.add(gdstk.Reference(via_dev_55, (6.21,-1.985)))
ncomparator.add(gdstk.Reference(via_dev_55, (8.13,-2.985)))
ncomparator.add(gdstk.Reference(via_dev_55, (11.43,-6.205)))
ncomparator.add(gdstk.Reference(nfet_11, (11.67,0.745), x_reflection=True))
ncomparator.add(gdstk.Reference(nfet_13, (13.55,0.745), x_reflection=True))
ncomparator.add(gdstk.Reference(nfet_13, (16.61,-8.405), x_reflection=True))
ncomparator.add(gdstk.Reference(via_dev_59, (18.49,-7.705)))
ncomparator.add(gdstk.Reference(via_dev_59, (18.49,1.445)))
ncomparator.add(gdstk.Reference(via_dev_55, (11.71,0.845), rotation=pi/2))
ncomparator.add(gdstk.Reference(via_dev_55, (11.43,-10.2), rotation=pi/2))
ncomparator.add(gdstk.Reference(via_dev_55, (13.17,-10.2), rotation=pi/2))
ncomparator.add(gdstk.Reference(via_dev_55, (14.91,-10.2), rotation=pi/2))
ncomparator.add(gdstk.Reference(via_dev_55, (16.65,-10.2), rotation=pi/2))
ncomparator.add(gdstk.Reference(via_dev_55, (18.39,-10.2), rotation=pi/2))
ncomparator.add(gdstk.Reference(via_dev_55, (20.13,-10.2), rotation=pi/2))
ncomparator.add(gdstk.Reference(via_dev_55, (21.21,-10.2), rotation=pi/2))
ncomparator.add(gdstk.Reference(via_dev_55, (22.03,-10.2), rotation=pi/2))
ncomparator.add(gdstk.Reference(via_dev_55, (13.59,0.845), rotation=pi/2))
ncomparator.add(gdstk.Reference(via_dev_55, (13.31,-7.705)))
ncomparator.add(gdstk.Reference(via_dev_59, (20.19,2.745)))
ncomparator.add(gdstk.Reference(via_dev_55, (9.97,2.745)))
ncomparator.add(gdstk.Reference(via_dev_55, (14.91,-7.705)))
ncomparator.add(gdstk.Reference(via_dev_59, (21.89,-6.205)))
ncomparator.add(gdstk.Reference(nfet_13, (13.13,-8.405), x_reflection=True))
ncomparator.add(gdstk.Reference(nfet_14, (20.09,-8.405), x_reflection=True))
ncomparator.add(gdstk.Reference(via_dev_55, (9.97,-1.985)))
ncomparator.add(gdstk.Reference(via_dev_55, (9.83,-6.205)))
ncomparator.add(gdstk.Reference(via_dev_55, (11.89,-2.985)))
ncomparator.add(gdstk.Label('iref', (2.75,-10.86), layer=34, texttype=10))
ncomparator.add(gdstk.Label('vss', (9.855,-4.4), layer=34, texttype=10))
ncomparator.add(gdstk.Label('vdd', (9.04,18.305), layer=34, texttype=10))
ncomparator.add(gdstk.Label('inn', (-1.515,-1.76), layer=36, texttype=10))
ncomparator.add(gdstk.Label('inp', (-1.475,-2.72), layer=36, texttype=10))
ncomparator.add(gdstk.Label('out', (22.475,2.98), layer=42, texttype=10))

lib.write_gds('Ncomparator.gds')
